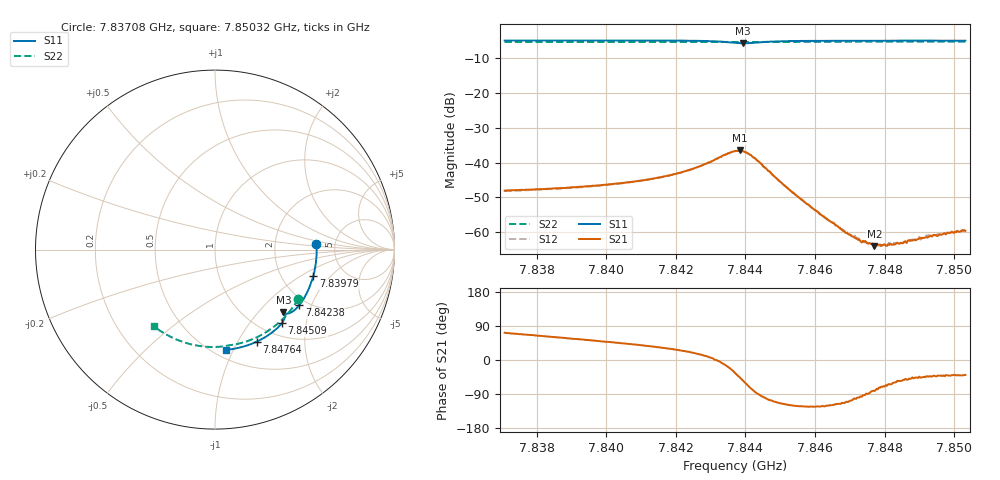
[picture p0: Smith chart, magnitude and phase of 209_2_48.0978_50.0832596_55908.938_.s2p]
#  HZ  S  RI  R  50.00
! Rohde & Schwarz Vector Network Analyzer
! Rohde-Schwarz,ZNB20-2Port,1311601062101988,3.16
! Created: UTC 12/23/2023, 3:55:34 AM
! freq[Hz]  re:S11  im:S11  re:S21  im:S21  re:S12  im:S12  re:S22  im:S22
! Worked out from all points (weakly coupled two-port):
!   401 points, 7.83708 GHz to 7.85032 GHz, reference 50 ohm
!   highest |S21| = -36.49 dB at 7.84383 GHz (marker M1); lowest = -64.0 dB at 7.8477 GHz (marker M2)
!   lowest |S11| = -5.7 dB at 7.84393 GHz (marker M3), VSWR 3.13, Z = 72.9 - j69 ohm
!   |S11| at or under -10 dB: nowhere
!   |S22| runs from -5.4 to -5.3 dB; largest |S21 - S12| = 0.0003
!   S11 on the Smith chart (normalised r, x): 7.83708 GHz: 3.58, +0.32; 7.83979 GHz: 2.98, -1.31; 7.84238 GHz: 1.81, -1.64; 7.84509 GHz: 1.24, -1.46; 7.84764 GHz: 0.80, -1.20; 7.85032 GHz: 0.57, -0.94
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7.837081e9  0.5655 0.0306  0.00122 0.00376  0.00127 0.00369  0.4643 -0.2748
7.839298e9  0.5548 -0.1164  0.00262 0.00364  0.00257 0.00359  0.3679 -0.396
7.839795e9  0.547 -0.1489  0.00305 0.0036  0.00297 0.0036  0.3416 -0.419
7.841516e9  0.5032 -0.2579  0.00507 0.00338  0.00505 0.00335  0.2407 -0.4848
7.842376e9  0.4693 -0.3098  0.00725 0.00285  0.00723 0.00284  0.1849 -0.5087
7.843203e9  0.4205 -0.3517  0.0115 -0.000387  0.0114 -0.000246  0.1291 -0.525
7.8437e9  0.3856 -0.3538  0.0122 -0.00812  0.0122 -0.00795  0.0957 -0.5306
7.843832e9  0.3816 -0.3498  0.0105 -0.0107  0.0103 -0.0104  0.0874 -0.5318
7.843931e9  0.3816 -0.3473  0.00838 -0.0119  0.00848 -0.0118  0.0812 -0.5328
7.844229e9  0.389 -0.3513  0.00197 -0.0117  0.00191 -0.0117  0.062 -0.5365
7.84509e9  0.374 -0.4073  -0.00213 -0.00434  -0.00212 -0.00436  0.0022 -0.5428
7.845917e9  0.3328 -0.4504  -0.00122 -0.00186  -0.00123 -0.00188  -0.0563 -0.5407
7.846877e9  0.2784 -0.4886  -0.000359 -0.00091  -0.000369 -0.000906  -0.1229 -0.5302
7.847274e9  0.2547 -0.5017  -0.000122 -0.000775  -9.08e-05 -0.000784  -0.1498 -0.5234
7.847472e9  0.2428 -0.5078  1.92e-05 -0.000717  -1.84e-05 -0.000711  -0.1633 -0.5195
7.847638e9  0.2327 -0.5125  9.6e-05 -0.000679  0.000112 -0.00068  -0.1744 -0.5161
7.847704e9  0.2287 -0.5144  8.79e-05 -0.000625  0.000107 -0.000633  -0.1788 -0.5146
7.847936e9  0.2143 -0.5206  0.000211 -0.000614  0.000194 -0.000618  -0.1941 -0.509
7.848134e9  0.2021 -0.5258  0.000289 -0.000591  0.000321 -0.000627  -0.2072 -0.5041
7.848565e9  0.1748 -0.5352  0.000438 -0.000575  0.000449 -0.000587  -0.2349 -0.4921
7.849226e9  0.1324 -0.5471  0.000609 -0.000571  0.000622 -0.000618  -0.2759 -0.4707
7.850319e9  0.0607 -0.5591  0.000811 -0.000664  0.000813 -0.000696  -0.3392 -0.4279
